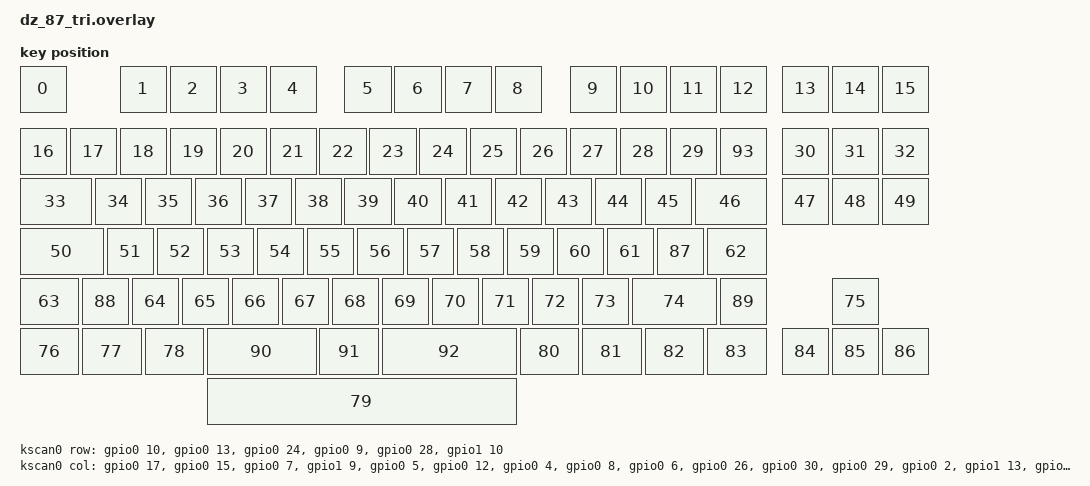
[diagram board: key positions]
#include <dt-bindings/gpio/gpio.h>

// 625 / 7U 两套配列及其 position map 直接复用 dz_87 的定义，不改动原文件。
#include "../dz_87/dz_87-layouts.dtsi"

// ---------------------------------------------------------------------------
// 三合一固件：625 + 7U + ALL(94 轴位) 编进同一个 uf2，Studio 里可自由切换。
//
// 之所以之前合不起来，是 ZMK 的静态断言：
//   "Position maps must all have the same number of entries"
// 即一个固件里所有 physical-layout-position-map 的条目数必须相等。
// 625 和 7U 都是 88 条，而 ALL 是 94 条 —— 于是把 ALL 也写成 88 条
// （ZMK 并不要求 pm 条目数等于该 layout 的 keys 数：625 是 87 keys 配 88 条 pm
// 已经这么用了）。代价是 ALL 的第 88-93 号互斥位（分裂空格/UK/FN2/分裂
// Backspace）不参与跨配列的键位迁移，切换配列时这几个位不会被搬动。
// ---------------------------------------------------------------------------

/ {
    dz87_t_all: dz87_t_all {
        compatible = "zmk,matrix-transform";
        columns = <16>;
        rows = <6>;
        map = <
              0   1   2   3   4   5   6   7   8   9  10  11  12  13  14  15
             16  17  18  19  20  21  22  23  24  25  26  27  28  29  30  31
             62  32  33  34  35  36  37  38  39  40  41  42  43  44  45  46
             47  63  48  49  50  51  52  53  54  55  56  57  58  59  61  64
             66  67  68  69  70  71  72  73  74  75  76  78  80  81  82  86
             90  91  92  93  79  94  95
             60  65  77  84  85  88  89
        >;
    };

    dz87_all: dz87_all {
        compatible = "zmk,physical-layout";
        display-name = "全轴通用 ALL（94 轴位）";
        transform = <&dz87_t_all>;

        keys = //                w   h     x    y    rot rx ry
              <&key_physical_attrs 100 100   200    100   0 0 0>  // m0  ESC
            , <&key_physical_attrs 100 100   400    100   0 0 0>  // m1  F1
            , <&key_physical_attrs 100 100   500    100   0 0 0>  // m2  F2
            , <&key_physical_attrs 100 100   600    100   0 0 0>  // m3  F3
            , <&key_physical_attrs 100 100   700    100   0 0 0>  // m4  F4
            , <&key_physical_attrs 100 100   850    100   0 0 0>  // m5  F5
            , <&key_physical_attrs 100 100   950    100   0 0 0>  // m6  F6
            , <&key_physical_attrs 100 100  1050    100   0 0 0>  // m7  F7
            , <&key_physical_attrs 100 100  1150    100   0 0 0>  // m8  F8
            , <&key_physical_attrs 100 100  1300    100   0 0 0>  // m9  F9
            , <&key_physical_attrs 100 100  1400    100   0 0 0>  // m10 F10
            , <&key_physical_attrs 100 100  1500    100   0 0 0>  // m11 F11
            , <&key_physical_attrs 100 100  1600    100   0 0 0>  // m12 F12
            , <&key_physical_attrs 100 100  1725    100   0 0 0>  // m13 PRINTSCREEN
            , <&key_physical_attrs 100 100  1825    100   0 0 0>  // m14 SCROLLLOCK
            , <&key_physical_attrs 100 100  1925    100   0 0 0>  // m15 PAUSE_BREAK
            , <&key_physical_attrs 100 100   200  225   0 0 0>  // m16 GRAVE
            , <&key_physical_attrs 100 100   300  225   0 0 0>  // m17 N1
            , <&key_physical_attrs 100 100   400  225   0 0 0>  // m18 N2
            , <&key_physical_attrs 100 100   500  225   0 0 0>  // m19 N3
            , <&key_physical_attrs 100 100   600  225   0 0 0>  // m20 N4
            , <&key_physical_attrs 100 100   700  225   0 0 0>  // m21 N5
            , <&key_physical_attrs 100 100   800  225   0 0 0>  // m22 N6
            , <&key_physical_attrs 100 100   900  225   0 0 0>  // m23 N7
            , <&key_physical_attrs 100 100  1000  225   0 0 0>  // m24 N8
            , <&key_physical_attrs 100 100  1100  225   0 0 0>  // m25 N9
            , <&key_physical_attrs 100 100  1200  225   0 0 0>  // m26 N0
            , <&key_physical_attrs 100 100  1300  225   0 0 0>  // m27 MINUS
            , <&key_physical_attrs 100 100  1400  225   0 0 0>  // m28 EQUAL
            , <&key_physical_attrs 100 100  1500  225   0 0 0>  // m29 BACKSPACE（1U，分裂 Backspace 左半）
            , <&key_physical_attrs 100 100  1725  225   0 0 0>  // m30 INSERT
            , <&key_physical_attrs 100 100  1825  225   0 0 0>  // m31 HOME
            , <&key_physical_attrs 100 100  1925  225   0 0 0>  // m62 PG_UP
            , <&key_physical_attrs 150 100   200  325   0 0 0>  // m32 TAB
            , <&key_physical_attrs 100 100   350  325   0 0 0>  // m33 Q
            , <&key_physical_attrs 100 100   450  325   0 0 0>  // m34 W
            , <&key_physical_attrs 100 100   550  325   0 0 0>  // m35 E
            , <&key_physical_attrs 100 100   650  325   0 0 0>  // m36 R
            , <&key_physical_attrs 100 100   750  325   0 0 0>  // m37 T
            , <&key_physical_attrs 100 100   850  325   0 0 0>  // m38 Y
            , <&key_physical_attrs 100 100   950  325   0 0 0>  // m39 U
            , <&key_physical_attrs 100 100  1050  325   0 0 0>  // m40 I
            , <&key_physical_attrs 100 100  1150  325   0 0 0>  // m41 O
            , <&key_physical_attrs 100 100  1250  325   0 0 0>  // m42 P
            , <&key_physical_attrs 100 100  1350  325   0 0 0>  // m43 LBKT
            , <&key_physical_attrs 100 100  1450  325   0 0 0>  // m44 RBKT
            , <&key_physical_attrs 150 100  1550  325   0 0 0>  // m45 BACKSLASH
            , <&key_physical_attrs 100 100  1725  325   0 0 0>  // m46 DELETE
            , <&key_physical_attrs 100 100  1825  325   0 0 0>  // m47 END
            , <&key_physical_attrs 100 100  1925  325   0 0 0>  // m63 PG_DN
            , <&key_physical_attrs 175 100   200  425   0 0 0>  // m48 CAPSLOCK
            , <&key_physical_attrs 100 100   375  425   0 0 0>  // m49 A
            , <&key_physical_attrs 100 100   475  425   0 0 0>  // m50 S
            , <&key_physical_attrs 100 100   575  425   0 0 0>  // m51 D
            , <&key_physical_attrs 100 100   675  425   0 0 0>  // m52 F
            , <&key_physical_attrs 100 100   775  425   0 0 0>  // m53 G
            , <&key_physical_attrs 100 100   875  425   0 0 0>  // m54 H
            , <&key_physical_attrs 100 100   975  425   0 0 0>  // m55 J
            , <&key_physical_attrs 100 100  1075  425   0 0 0>  // m56 K
            , <&key_physical_attrs 100 100  1175  425   0 0 0>  // m57 L
            , <&key_physical_attrs 100 100  1275  425   0 0 0>  // m58 SEMICOLON
            , <&key_physical_attrs 100 100  1375  425   0 0 0>  // m59 SINGLE_QUOTE
            , <&key_physical_attrs 125 100  1575  425   0 0 0>  // m61 ENTER（ISO 1.25U，右边界 1700）
            , <&key_physical_attrs 125 100   200  525   0 0 0>  // m64 LSHIFT（1.25U，让出 m65 UK）
            , <&key_physical_attrs 100 100   425  525   0 0 0>  // m66 Z
            , <&key_physical_attrs 100 100   525  525   0 0 0>  // m67 X
            , <&key_physical_attrs 100 100   625  525   0 0 0>  // m68 C
            , <&key_physical_attrs 100 100   725  525   0 0 0>  // m69 V
            , <&key_physical_attrs 100 100   825  525   0 0 0>  // m70 B
            , <&key_physical_attrs 100 100   925  525   0 0 0>  // m71 N
            , <&key_physical_attrs 100 100  1025  525   0 0 0>  // m72 M
            , <&key_physical_attrs 100 100  1125  525   0 0 0>  // m73 COMMA
            , <&key_physical_attrs 100 100  1225  525   0 0 0>  // m74 PERIOD
            , <&key_physical_attrs 100 100  1325  525   0 0 0>  // m75 SLASH
            , <&key_physical_attrs 175 100  1425  525   0 0 0>  // m76 RSHIFT（1.75U，让出 m77 FN2）
            , <&key_physical_attrs 100 100  1825  525   0 0 0>  // m78 UP
            , <&key_physical_attrs 125 100   200  625   0 0 0>  // m80 LCTRL
            , <&key_physical_attrs 125 100   325  625   0 0 0>  // m81 LGUI
            , <&key_physical_attrs 125 100   450  625   0 0 0>  // m82 LALT
            , <&key_physical_attrs 625 100   575  725   0 0 0>  // m86 SPACE（625/7U 共用空格，下移一行）
            , <&key_physical_attrs 125 100  1200  625   0 0 0>  // m90 RALT
            , <&key_physical_attrs 125 100  1325  625   0 0 0>  // m91 RGUI
            , <&key_physical_attrs 125 100  1450  625   0 0 0>  // m92 FN (mo 1)
            , <&key_physical_attrs 125 100  1575  625   0 0 0>  // m93 RCTRL
            , <&key_physical_attrs 100 100  1725  625   0 0 0>  // m79 LEFT
            , <&key_physical_attrs 100 100  1825  625   0 0 0>  // m94 DOWN
            , <&key_physical_attrs 100 100  1925  625   0 0 0>  // m95 RIGHT
            // --- 87-93: 额外轴位（互斥位）---
            , <&key_physical_attrs 100 100  1475  425   0 0 0>  // m60 BSLS1 (ISO 额外反斜杠，ENTER 左侧)
            , <&key_physical_attrs 100 100   325  525   0 0 0>  // m65 UK    (LSHIFT 缩减出的 1U)
            , <&key_physical_attrs 100 100  1600  525   0 0 0>  // m77 FN2   (RSHIFT 缩减出的 1U, mo 2)
            , <&key_physical_attrs 225 100   575  625   0 0 0>  // m84 SPACE (split_space 左段 2.25U)
            , <&key_physical_attrs 125 100   800  625   0 0 0>  // m85 SPACE (split_space 中段 1.25U)
            , <&key_physical_attrs 275 100   925  625   0 0 0>  // m88 SPACE (split_space 右段 2.75U)
            , <&key_physical_attrs 100 100  1600  225   0 0 0>  // m89 BACK  (split_backspace 右半 1U)
            ;
    };
};

// ALL 的 position map：88 条，与 625/7U 对齐（见文件头说明）
&dz87_position_map {
    dz87_all_pm: dz87_all_pm {
        physical-layout = <&dz87_all>;
        positions = <
    0   1   2   3   4   5   6   7   8   9  10  11  12  13  14  15
   16  17  18  19  20  21  22  23  24  25  26  27  28  29  30  31
   32  33  34  35  36  37  38  39  40  41  42  43  44  45  46  47
   48  49  50  51  52  53  54  55  56  57  58  59  60  61  62  63
   64  65  66  67  68  69  70  71  72  73  74  75  76  77  78  79
   80  81  82  83  84  85  86  87
        >;
    };
};

/ {
    chosen {
        zmk,kscan = &kscan0;
        zmk,battery = <&vbatt>;
        zmk,physical-layout = <&dz87_625>;
    };

    vbatt: vbatt {
        compatible = "zmk,battery-nrf-vddh";
    };

    kscan0: kscan {
        compatible = "zmk,kscan-gpio-matrix";
        wakeup-source;
        debounce-press-ms = <5>;
        debounce-release-ms = <5>;

        diode-direction = "col2row";

        row-gpios
            = <&gpio0 10 (GPIO_ACTIVE_HIGH | GPIO_PULL_DOWN)>   // R0
            , <&gpio0 13 (GPIO_ACTIVE_HIGH | GPIO_PULL_DOWN)>   // R1
            , <&gpio0 24 (GPIO_ACTIVE_HIGH | GPIO_PULL_DOWN)>   // R2
            , <&gpio0  9 (GPIO_ACTIVE_HIGH | GPIO_PULL_DOWN)>   // R3
            , <&gpio0 28 (GPIO_ACTIVE_HIGH | GPIO_PULL_DOWN)>   // R4
            , <&gpio1 10 (GPIO_ACTIVE_HIGH | GPIO_PULL_DOWN)>   // R5
            ;

        col-gpios
            = <&gpio0 17 GPIO_ACTIVE_HIGH>   // C0
            , <&gpio0 15 GPIO_ACTIVE_HIGH>   // C1
            , <&gpio0  7 GPIO_ACTIVE_HIGH>   // C2
            , <&gpio1  9 GPIO_ACTIVE_HIGH>   // C3
            , <&gpio0  5 GPIO_ACTIVE_HIGH>   // C4
            , <&gpio0 12 GPIO_ACTIVE_HIGH>   // C5
            , <&gpio0  4 GPIO_ACTIVE_HIGH>   // C6
            , <&gpio0  8 GPIO_ACTIVE_HIGH>   // C7
            , <&gpio0  6 GPIO_ACTIVE_HIGH>   // C8
            , <&gpio0 26 GPIO_ACTIVE_HIGH>   // C9
            , <&gpio0 30 GPIO_ACTIVE_HIGH>   // C10
            , <&gpio0 29 GPIO_ACTIVE_HIGH>   // C11
            , <&gpio0  2 GPIO_ACTIVE_HIGH>   // C12
            , <&gpio1 13 GPIO_ACTIVE_HIGH>   // C13
            , <&gpio0  3 GPIO_ACTIVE_HIGH>   // C14
            , <&gpio1 11 GPIO_ACTIVE_HIGH>   // C15
            ;
    };

    leds {
        compatible = "gpio-leds";
        label = "CZM DZ 87 indicator LEDs";
        led0: led_0 { gpios = <&gpio0 20 GPIO_ACTIVE_LOW>; };  // CapsLock
        led1: led_1 { gpios = <&gpio0 22 GPIO_ACTIVE_LOW>; };  // ScrollLock
        led2: led_2 { gpios = <&gpio1  0 GPIO_ACTIVE_LOW>; };  // BLE profile 1
        led3: led_3 { gpios = <&gpio1  2 GPIO_ACTIVE_LOW>; };  // BLE profile 2
        led4: led_4 { gpios = <&gpio1  4 GPIO_ACTIVE_LOW>; };  // BLE profile 3
        led5: led_5 { gpios = <&gpio1  6 GPIO_ACTIVE_LOW>; };  // USB output
    };
};
